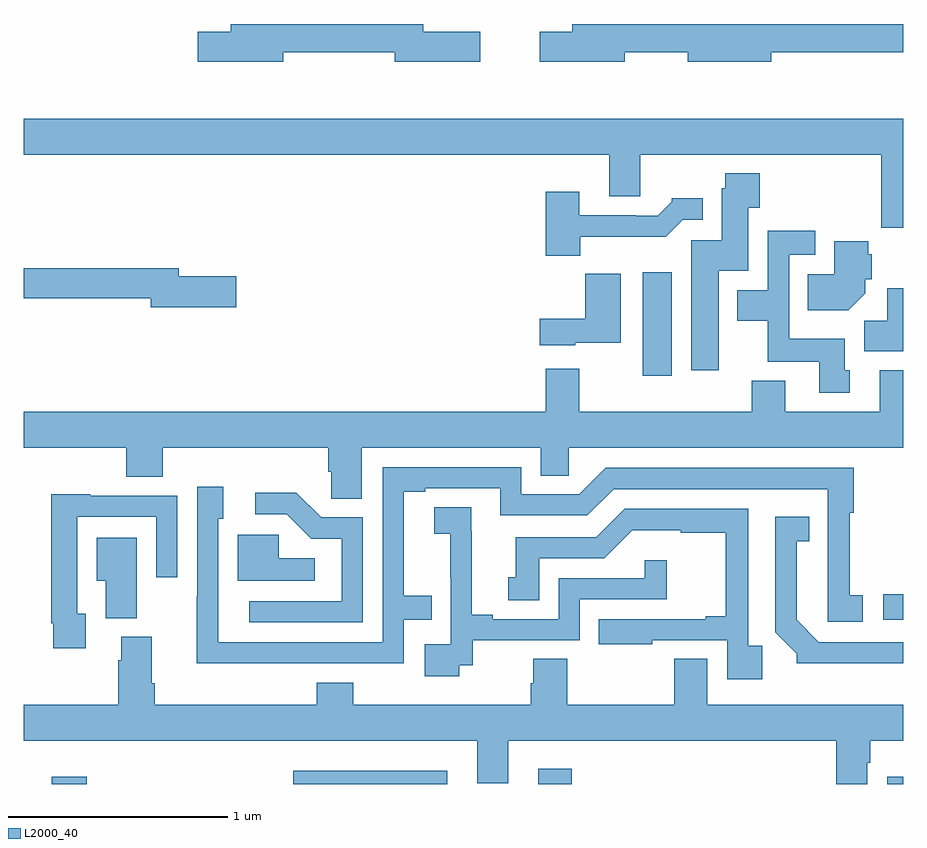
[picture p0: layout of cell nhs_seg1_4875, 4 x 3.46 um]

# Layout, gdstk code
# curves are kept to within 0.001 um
import gdstk
lib = gdstk.Library(unit=1e-6, precision=1e-09)
def R(c, l, rs):  # rectangles x0, y0, x1, y1
    for r in rs: c.add(gdstk.rectangle(r[:2], r[2:], *l))
def P(c, l, *ps):  # polygons
    for p in ps: c.add(gdstk.Polygon(p, *l))
L2000_40 = (2000, 40)

nhs_seg1_4875 = lib.new_cell('nhs_seg1_4875')
R(nhs_seg1_4875, L2000_40, [(375.128,554.199,375.287,554.233), (376.227,554.199,376.927,554.26), (377.339,554.199,377.492,554.269), (378.926,554.199,379,554.233), (378.909,554.946,379,555.062), (377.816,556.056,377.947,556.525)])
P(nhs_seg1_4875, L2000_40, [(376.18,557.526),(376.688,557.526),(376.688,557.483),(377.077,557.483),(377.077,557.618),(376.816,557.618),(376.816,557.654),(375.941,557.654),(375.941,557.618),(375.792,557.618),(375.792,557.483),(376.18,557.483)],
  [(377.734,557.526),(378.02,557.526),(378.02,557.483),(378.4,557.483),(378.4,557.526),(379,557.526),(379,557.654),(377.495,557.654),(377.495,557.618),(377.346,557.618),(377.346,557.483),(377.734,557.483)],
  [(379,557.224),(375,557.224),(375,557.06),(377.663,557.06),(377.663,556.87),(377.803,556.87),(377.803,557.06),(378.898,557.06),(378.898,556.728),(379,556.728)],
  [(378.16,556.532),(378.295,556.532),(378.295,556.819),(378.347,556.819),(378.347,556.975),(378.19,556.975),(378.19,556.908),(378.173,556.908),(378.173,556.671),(378.035,556.671),(378.035,556.08),(378.16,556.08)],
  [(377.53,556.686),(377.919,556.686),(377.997,556.764),(378.088,556.764),(378.088,556.861),(377.946,556.861),(377.946,556.846),(377.882,556.782),(377.783,556.782),(377.783,556.785),(377.527,556.785),(377.527,556.891),(377.375,556.891),(377.375,556.601),(377.53,556.601)],
  [(378.757,556.08),(378.733,556.08),(378.733,556.222),(378.48,556.222),(378.48,556.605),(378.598,556.605),(378.598,556.714),(378.384,556.714),(378.384,556.444),(378.245,556.444),(378.245,556.304),(378.382,556.304),(378.382,556.118),(378.617,556.118),(378.617,555.978),(378.757,555.978)],
  [(378.826,556.43),(378.826,556.494),(378.856,556.494),(378.856,556.608),(378.839,556.608),(378.839,556.666),(378.686,556.666),(378.686,556.516),(378.565,556.516),(378.565,556.352),(378.748,556.352)],
  [(375.967,556.508),(375.706,556.508),(375.706,556.544),(375,556.544),(375,556.408),(375.578,556.408),(375.578,556.366),(375.967,556.366)],
  [(377.508,556.205),(377.716,556.205),(377.716,556.519),(377.554,556.519),(377.554,556.315),(377.346,556.315),(377.346,556.193),(377.508,556.193)],
  [(379,556.453),(378.926,556.453),(378.926,556.304),(378.821,556.304),(378.821,556.166),(379,556.166)],
  [(376.537,555.728),(377.351,555.728),(377.351,555.601),(377.478,555.601),(377.478,555.728),(379,555.728),(379,556.081),(378.893,556.081),(378.893,555.892),(378.463,555.892),(378.463,556.033),(378.311,556.033),(378.311,555.892),(377.527,555.892),(377.527,556.087),(377.375,556.087),(377.375,555.892),(375,555.892),(375,555.728),(375.467,555.728),(375.467,555.595),(375.632,555.595),(375.632,555.728),(376.385,555.728),(376.385,555.619),(376.398,555.619),(376.398,555.496),(376.537,555.496)],
  [(376.25,554.748),(376.728,554.748),(376.728,554.946),(376.856,554.946),(376.856,555.055),(376.729,555.055),(376.729,555.528),(376.825,555.528),(376.825,555.543),(377.166,555.543),(377.166,555.42),(377.562,555.42),(377.682,555.54),(378.657,555.54),(378.656,554.937),(378.814,554.937),(378.814,555.057),(378.756,555.057),(378.756,555.433),(378.773,555.433),(378.773,555.636),(377.646,555.636),(377.526,555.516),(377.262,555.516),(377.262,555.639),(376.632,555.639),(376.632,554.844),(375.885,554.844),(375.885,555.405),(375.907,555.405),(375.907,555.55),(375.789,555.55),(375.788,554.747)],
  [(376.542,555.411),(376.353,555.411),(376.24,555.524),(376.053,555.524),(376.053,555.426),(376.197,555.426),(376.308,555.315),(376.446,555.315),(376.446,555.03),(376.026,555.03),(376.026,554.934),(376.542,554.934)],
  [(375.283,554.973),(375.243,554.973),(375.243,555.414),(375.603,555.414),(375.603,555.138),(375.699,555.138),(375.699,555.51),(375.303,555.51),(375.303,555.517),(375.127,555.517),(375.127,554.929),(375.135,554.929),(375.135,554.817),(375.283,554.817)],
  [(376.98,554.739),(377.042,554.739),(377.042,554.853),(377.529,554.853),(377.529,555.039),(377.924,555.039),(377.924,555.217),(377.823,555.217),(377.823,555.135),(377.433,555.135),(377.433,554.949),(377.134,554.949),(377.134,554.969),(377.038,554.969),(377.038,555.347),(377.036,555.347),(377.036,555.458),(376.866,555.458),(376.866,555.337),(376.94,555.337),(376.94,555.139),(376.941,555.139),(376.941,554.835),(376.824,554.835),(376.824,554.688),(376.98,554.688)],
  [(378.359,554.827),(378.294,554.827),(378.294,555.45),(377.733,555.45),(377.604,555.321),(377.237,555.321),(377.237,555.138),(377.204,555.138),(377.204,555.034),(377.344,555.034),(377.344,555.225),(377.64,555.225),(377.768,555.353),(377.987,555.353),(377.987,555.342),(378.193,555.342),(378.193,554.962),(378.101,554.962),(378.101,554.949),(377.614,554.949),(377.614,554.834),(377.857,554.834),(377.857,554.853),(378.198,554.853),(378.198,554.676),(378.359,554.676)],
  [(378.95,554.748),(379,554.748),(379,554.844),(378.615,554.844),(378.514,554.945),(378.514,555.302),(378.572,555.302),(378.572,555.415),(378.417,555.415),(378.417,554.89),(378.516,554.791),(378.516,554.747)],
  [(376.324,555.226),(376.161,555.226),(376.161,555.333),(375.974,555.333),(375.974,555.122),(376.324,555.122)],
  [(375.514,555.319),(375.332,555.319),(375.332,555.122),(375.374,555.122),(375.374,554.953),(375.514,554.953)],
  [(378.835,554.295),(378.848,554.295),(378.848,554.396),(379,554.396),(379,554.56),(378.109,554.56),(378.109,554.768),(377.957,554.768),(377.957,554.56),(377.471,554.56),(377.471,554.768),(377.318,554.768),(377.318,554.658),(377.306,554.658),(377.306,554.56),(376.499,554.56),(376.499,554.659),(376.334,554.659),(376.334,554.56),(375.596,554.56),(375.596,554.656),(375.583,554.656),(375.583,554.868),(375.443,554.868),(375.443,554.762),(375.431,554.762),(375.431,554.56),(375,554.56),(375,554.396),(377.063,554.396),(377.063,554.202),(377.203,554.202),(377.203,554.396),(378.695,554.396),(378.695,554.199),(378.835,554.199)])

lib.write_gds('nhs_seg1_4875.gds')
